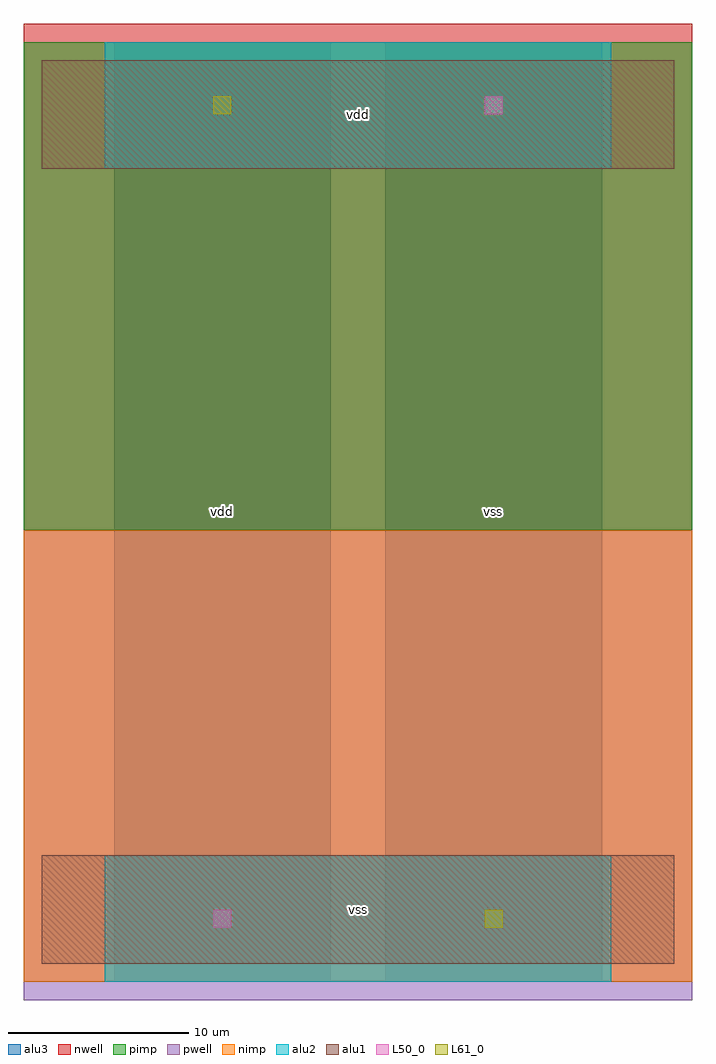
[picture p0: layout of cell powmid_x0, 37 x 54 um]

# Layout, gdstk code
import gdstk
lib = gdstk.Library(unit=1e-6, precision=1e-09)
def R(c, l, rs):  # rectangles x0, y0, x1, y1
    for r in rs: c.add(gdstk.rectangle(r[:2], r[2:], *l))
pwell = (41, 0)
nwell = (42, 0)
pimp = (44, 0)
nimp = (45, 0)
alu1 = (49, 0)
L50_0 = (50, 0)
alu2 = (51, 0)
L61_0 = (61, 0)
alu3 = (62, 0)

powmid_x0 = lib.new_cell('powmid_x0')
R(powmid_x0, pwell, [(-1,-2,36,24)])
R(powmid_x0, nwell, [(-1,24,36,52)])
R(powmid_x0, pimp, [(-1,24,36,51)])
R(powmid_x0, nimp, [(-1,-1,36,24)])
R(powmid_x0, alu1, [(0,0,35,6), (0,44,35,50)])
R(powmid_x0, L50_0, [(9.5,2,10.5,3), (24.5,47,25.5,48)])
R(powmid_x0, alu2, [(3.5,-1,31.5,6), (3.5,-1,31.5,6), (3.5,44,31.5,51), (3.5,44,31.5,51)])
R(powmid_x0, L61_0, [(24.5,2,25.5,3), (9.5,47,10.5,48)])
R(powmid_x0, alu3, [(4,-1,16,51), (19,-1,31,51)])
powmid_x0.add(gdstk.Label('vss', (17.5,3), layer=49, texttype=0))
powmid_x0.add(gdstk.Label('vdd', (17.5,47), layer=49, texttype=0))
powmid_x0.add(gdstk.Label('vss', (17.5,3), layer=51, texttype=0))
powmid_x0.add(gdstk.Label('vdd', (17.5,47), layer=51, texttype=0))
powmid_x0.add(gdstk.Label('vdd', (10,25), layer=62, texttype=0))
powmid_x0.add(gdstk.Label('vss', (25,25), layer=62, texttype=0))

lib.write_gds('powmid_x0.gds')
